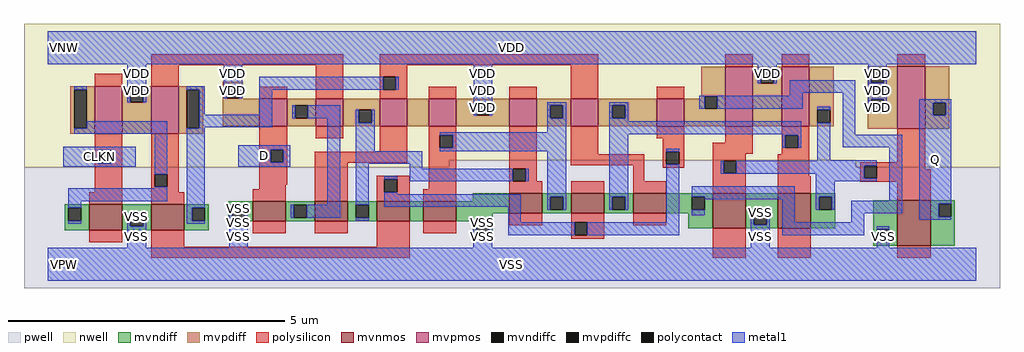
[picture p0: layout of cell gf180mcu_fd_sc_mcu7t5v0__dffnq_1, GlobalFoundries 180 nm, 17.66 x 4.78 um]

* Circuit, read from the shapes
.subckt gf180mcu_fd_sc_mcu7t5v0__dffnq_1 D CLKN Q VDD VNW VPW VSS
XM1 VSS CLKN n1 VPW nfet_06v0 w=0.465u l=0.6u
XM2 n2 n1 VSS VPW nfet_06v0 w=0.465u l=0.6u
XM3 n3 D VSS VPW nfet_06v0 w=0.36u l=0.6u
XM4 n4 n2 n3 VPW nfet_06v0 w=0.36u l=0.6u
XM5 n5 n1 n4 VPW nfet_06v0 w=0.36u l=0.6u
XM6 VSS n6 n5 VPW nfet_06v0 w=0.36u l=0.6u
XM7 n6 n4 VSS VPW nfet_06v0 w=0.36u l=0.6u
XM8 n7 n1 n6 VPW nfet_06v0 w=0.36u l=0.6u
XM9 n8 n2 n7 VPW nfet_06v0 w=0.36u l=0.6u
XM10 VSS n9 n8 VPW nfet_06v0 w=0.63u l=0.6u
XM11 n9 n7 VSS VPW nfet_06v0 w=0.63u l=0.6u
XM12 Q n9 VSS VPW nfet_06v0 w=0.82u l=0.6u
XM13 VDD CLKN n1 VNW pfet_06v0 w=0.865u l=0.5u
XM14 n2 n1 VDD VNW pfet_06v0 w=0.865u l=0.5u
XM15 n3 D VDD VNW pfet_06v0 w=0.495u l=0.5u
XM16 n4 n1 n3 VNW pfet_06v0 w=0.495u l=0.5u
XM17 n10 n2 n4 VNW pfet_06v0 w=0.495u l=0.5u
XM18 VDD n6 n10 VNW pfet_06v0 w=0.495u l=0.5u
XM19 n6 n4 VDD VNW pfet_06v0 w=0.495u l=0.5u
XM20 n7 n2 n6 VNW pfet_06v0 w=0.495u l=0.5u
XM21 n8 n1 n7 VNW pfet_06v0 w=0.495u l=0.5u
XM22 VDD n9 n8 VNW pfet_06v0 w=1.075u l=0.5u
XM23 n9 n7 VDD VNW pfet_06v0 w=1.075u l=0.5u
XM24 Q n9 VDD VNW pfet_06v0 w=1.13u l=0.5u
.ends

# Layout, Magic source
magic
tech gf180mcuD
magscale 1 10
<< nwell >>
rect -86 377 3446 870
rect -86 352 1453 377
rect 2924 352 3446 377
<< pwell >>
rect 1453 352 2924 377
rect -86 -86 3446 352
<< mvnmos >>
rect 150 124 270 217
rect 374 124 494 217
rect 742 156 862 228
rect 966 156 1086 228
rect 1190 156 1310 228
rect 1358 156 1478 228
rect 1670 185 1790 257
rect 1894 185 2014 257
rect 2118 185 2238 257
rect 2406 131 2526 257
rect 2642 131 2762 257
rect 3075 68 3195 232
<< mvpmos >>
rect 170 472 270 645
rect 374 472 474 645
rect 766 500 866 599
rect 970 500 1070 599
rect 1201 500 1301 599
rect 1378 500 1478 599
rect 1670 500 1770 599
rect 1893 500 1993 599
rect 2204 500 2304 599
rect 2452 500 2552 715
rect 2656 500 2756 715
rect 3075 490 3175 716
<< mvndiff >>
rect 1538 228 1670 257
rect 62 204 150 217
rect 62 158 75 204
rect 121 158 150 204
rect 62 124 150 158
rect 270 183 374 217
rect 270 137 299 183
rect 345 137 374 183
rect 270 124 374 137
rect 494 204 582 217
rect 494 158 523 204
rect 569 158 582 204
rect 494 124 582 158
rect 654 215 742 228
rect 654 169 667 215
rect 713 169 742 215
rect 654 156 742 169
rect 862 215 966 228
rect 862 169 891 215
rect 937 169 966 215
rect 862 156 966 169
rect 1086 215 1190 228
rect 1086 169 1115 215
rect 1161 169 1190 215
rect 1086 156 1190 169
rect 1310 156 1358 228
rect 1478 185 1670 228
rect 1790 244 1894 257
rect 1790 198 1819 244
rect 1865 198 1894 244
rect 1790 185 1894 198
rect 2014 244 2118 257
rect 2014 198 2043 244
rect 2089 198 2118 244
rect 2014 185 2118 198
rect 2238 244 2406 257
rect 2238 198 2331 244
rect 2377 198 2406 244
rect 2238 185 2406 198
rect 1478 162 1610 185
rect 1478 156 1551 162
rect 1538 116 1551 156
rect 1597 116 1610 162
rect 1538 103 1610 116
rect 2318 131 2406 185
rect 2526 190 2642 257
rect 2526 144 2555 190
rect 2601 144 2642 190
rect 2526 131 2642 144
rect 2762 244 2850 257
rect 2762 198 2791 244
rect 2837 198 2850 244
rect 2762 131 2850 198
rect 2987 127 3075 232
rect 2987 81 3000 127
rect 3046 81 3075 127
rect 2987 68 3075 81
rect 3195 219 3283 232
rect 3195 173 3224 219
rect 3270 173 3283 219
rect 3195 68 3283 173
<< mvpdiff >>
rect 634 647 706 660
rect 82 632 170 645
rect 82 492 95 632
rect 141 492 170 632
rect 82 472 170 492
rect 270 632 374 645
rect 270 586 299 632
rect 345 586 374 632
rect 270 472 374 586
rect 474 632 562 645
rect 474 492 503 632
rect 549 492 562 632
rect 634 601 647 647
rect 693 601 706 647
rect 634 599 706 601
rect 2364 609 2452 715
rect 2364 599 2377 609
rect 634 500 766 599
rect 866 575 970 599
rect 866 529 895 575
rect 941 529 970 575
rect 866 500 970 529
rect 1070 559 1201 599
rect 1070 513 1126 559
rect 1172 513 1201 559
rect 1070 500 1201 513
rect 1301 500 1378 599
rect 1478 586 1670 599
rect 1478 540 1552 586
rect 1598 540 1670 586
rect 1478 500 1670 540
rect 1770 575 1893 599
rect 1770 529 1818 575
rect 1864 529 1893 575
rect 1770 500 1893 529
rect 1993 575 2204 599
rect 1993 529 2043 575
rect 2089 529 2204 575
rect 1993 500 2204 529
rect 2304 563 2377 599
rect 2423 563 2452 609
rect 2304 500 2452 563
rect 2552 702 2656 715
rect 2552 656 2581 702
rect 2627 656 2656 702
rect 2552 500 2656 656
rect 2756 559 2844 715
rect 2756 513 2785 559
rect 2831 513 2844 559
rect 2756 500 2844 513
rect 2967 703 3075 716
rect 2967 657 2980 703
rect 3026 657 3075 703
rect 2967 597 3075 657
rect 2967 551 2980 597
rect 3026 551 3075 597
rect 474 472 562 492
rect 2967 490 3075 551
rect 3175 585 3263 716
rect 3175 539 3204 585
rect 3250 539 3263 585
rect 3175 490 3263 539
<< mvndiffc >>
rect 75 158 121 204
rect 299 137 345 183
rect 523 158 569 204
rect 667 169 713 215
rect 891 169 937 215
rect 1115 169 1161 215
rect 1819 198 1865 244
rect 2043 198 2089 244
rect 2331 198 2377 244
rect 1551 116 1597 162
rect 2555 144 2601 190
rect 2791 198 2837 244
rect 3000 81 3046 127
rect 3224 173 3270 219
<< mvpdiffc >>
rect 95 492 141 632
rect 299 586 345 632
rect 503 492 549 632
rect 647 601 693 647
rect 895 529 941 575
rect 1126 513 1172 559
rect 1552 540 1598 586
rect 1818 529 1864 575
rect 2043 529 2089 575
rect 2377 563 2423 609
rect 2581 656 2627 702
rect 2785 513 2831 559
rect 2980 657 3026 703
rect 2980 551 3026 597
rect 3204 539 3250 585
<< polysilicon >>
rect 374 720 1070 760
rect 170 645 270 690
rect 374 645 474 720
rect 766 599 866 643
rect 970 599 1070 720
rect 1201 720 1993 760
rect 1201 678 1301 720
rect 1201 632 1214 678
rect 1260 632 1301 678
rect 1201 599 1301 632
rect 1378 599 1478 643
rect 1670 599 1770 643
rect 1893 599 1993 720
rect 2452 715 2552 760
rect 2656 715 2756 760
rect 3075 716 3175 760
rect 2204 599 2304 643
rect 170 412 270 472
rect 170 366 183 412
rect 229 366 270 412
rect 170 261 270 366
rect 150 217 270 261
rect 374 326 474 472
rect 374 280 387 326
rect 433 280 474 326
rect 374 261 474 280
rect 766 415 866 500
rect 970 456 1070 500
rect 766 369 807 415
rect 853 369 866 415
rect 1201 408 1301 500
rect 766 288 866 369
rect 966 368 1301 408
rect 1378 467 1478 500
rect 1378 421 1419 467
rect 1465 421 1478 467
rect 766 272 862 288
rect 374 217 494 261
rect 742 228 862 272
rect 966 228 1086 368
rect 1190 307 1310 320
rect 1190 261 1218 307
rect 1264 261 1310 307
rect 1378 272 1478 421
rect 1190 228 1310 261
rect 1358 228 1478 272
rect 1670 346 1770 500
rect 1893 399 1993 500
rect 2204 456 2304 500
rect 2226 408 2304 456
rect 2452 440 2552 500
rect 1893 359 2158 399
rect 1670 300 1683 346
rect 1729 301 1770 346
rect 2118 301 2158 359
rect 2226 362 2239 408
rect 2285 362 2304 408
rect 2226 349 2304 362
rect 2406 400 2552 440
rect 2656 467 2756 500
rect 2656 421 2669 467
rect 2715 421 2756 467
rect 2406 375 2526 400
rect 2656 399 2756 421
rect 2406 329 2446 375
rect 2492 329 2526 375
rect 1729 300 1790 301
rect 1670 257 1790 300
rect 1894 257 2014 301
rect 2118 257 2238 301
rect 2406 257 2526 329
rect 2642 319 2756 399
rect 3075 370 3175 490
rect 2941 357 3175 370
rect 2642 257 2762 319
rect 2941 311 2954 357
rect 3000 344 3175 357
rect 3000 311 3195 344
rect 2941 298 3195 311
rect 150 80 270 124
rect 374 64 494 124
rect 742 112 862 156
rect 966 112 1086 156
rect 1190 64 1310 156
rect 1358 112 1478 156
rect 1670 141 1790 185
rect 1894 152 2014 185
rect 1894 106 1907 152
rect 1953 106 2014 152
rect 2118 141 2238 185
rect 3075 232 3195 298
rect 1894 93 2014 106
rect 374 24 1310 64
rect 2406 24 2526 131
rect 2642 24 2762 131
rect 3075 24 3195 68
<< polycontact >>
rect 1214 632 1260 678
rect 183 366 229 412
rect 387 280 433 326
rect 807 369 853 415
rect 1419 421 1465 467
rect 1218 261 1264 307
rect 1683 300 1729 346
rect 2239 362 2285 408
rect 2669 421 2715 467
rect 2446 329 2492 375
rect 2954 311 3000 357
rect 1907 106 1953 152
<< metal1 >>
rect 0 724 3360 844
rect 95 632 141 645
rect 288 632 356 724
rect 636 647 704 724
rect 288 586 299 632
rect 345 586 356 632
rect 503 632 569 645
rect 141 492 433 518
rect 95 472 433 492
rect 56 412 318 426
rect 56 366 183 412
rect 229 366 318 412
rect 56 354 318 366
rect 387 326 433 472
rect 387 275 433 280
rect 75 229 433 275
rect 549 542 569 632
rect 636 601 647 647
rect 693 601 704 647
rect 766 632 1214 678
rect 1260 632 1271 678
rect 766 542 812 632
rect 1541 586 1609 724
rect 2570 702 2638 724
rect 2570 656 2581 702
rect 2627 656 2638 702
rect 2969 703 3037 724
rect 2686 620 2923 666
rect 2686 610 2732 620
rect 2358 609 2732 610
rect 549 496 812 542
rect 884 529 895 575
rect 941 529 1058 575
rect 549 492 569 496
rect 75 204 121 229
rect 503 204 569 492
rect 690 415 878 430
rect 690 369 807 415
rect 853 369 878 415
rect 690 354 878 369
rect 1011 215 1058 529
rect 75 147 121 158
rect 288 137 299 183
rect 345 137 356 183
rect 503 158 523 204
rect 503 147 569 158
rect 656 169 667 215
rect 713 169 724 215
rect 880 169 891 215
rect 937 169 1058 215
rect 1115 513 1126 559
rect 1172 513 1183 559
rect 1541 540 1552 586
rect 1598 540 1609 586
rect 1808 575 1876 586
rect 1115 410 1183 513
rect 1808 529 1818 575
rect 1864 529 1876 575
rect 1808 478 1876 529
rect 1419 467 1876 478
rect 1465 421 1876 467
rect 1419 410 1876 421
rect 1115 364 1356 410
rect 1115 215 1161 364
rect 1310 346 1356 364
rect 1218 307 1264 318
rect 1310 300 1683 346
rect 1729 300 1740 346
rect 1218 254 1264 261
rect 1218 208 1712 254
rect 288 60 356 137
rect 656 60 724 169
rect 1115 158 1161 169
rect 1540 116 1551 162
rect 1597 116 1608 162
rect 1540 60 1608 116
rect 1666 152 1712 208
rect 1808 244 1876 410
rect 1808 198 1819 244
rect 1865 198 1876 244
rect 2032 575 2100 586
rect 2032 529 2043 575
rect 2089 529 2100 575
rect 2358 563 2377 609
rect 2423 563 2732 609
rect 2032 517 2100 529
rect 2785 559 2831 570
rect 2032 471 2726 517
rect 2032 244 2100 471
rect 2658 467 2726 471
rect 2658 421 2669 467
rect 2715 421 2726 467
rect 2032 198 2043 244
rect 2089 198 2100 244
rect 2239 408 2285 419
rect 2785 377 2831 513
rect 2877 469 2923 620
rect 2969 657 2980 703
rect 3026 657 3037 703
rect 2969 597 3037 657
rect 2969 551 2980 597
rect 3026 551 3037 597
rect 3154 585 3270 597
rect 3154 539 3204 585
rect 3250 539 3270 585
rect 2877 423 3092 469
rect 2785 375 3000 377
rect 2239 152 2285 362
rect 2435 329 2446 375
rect 2492 357 3000 375
rect 2492 329 2954 357
rect 2435 328 2954 329
rect 2780 311 2954 328
rect 2780 300 3000 311
rect 2331 244 2704 282
rect 2377 236 2704 244
rect 2331 178 2377 198
rect 1666 106 1907 152
rect 1953 106 2285 152
rect 2544 144 2555 190
rect 2601 144 2612 190
rect 2544 60 2612 144
rect 2658 152 2704 236
rect 2780 244 2848 300
rect 2780 198 2791 244
rect 2837 198 2848 244
rect 3046 230 3092 423
rect 2908 184 3092 230
rect 3154 219 3270 539
rect 2908 152 2954 184
rect 3154 173 3224 219
rect 3154 162 3270 173
rect 2658 106 2954 152
rect 3000 127 3046 138
rect 3000 60 3046 81
rect 0 -60 3360 60
<< labels >>
flabel metal1 s 56 354 318 426 0 FreeSans 600 0 0 0 CLKN
port 2 nsew clock input
flabel metal1 s 0 724 3360 844 0 FreeSans 600 0 0 0 VDD
port 4 nsew power bidirectional abutment
flabel metal1 s 656 190 724 215 0 FreeSans 600 0 0 0 VSS
port 7 nsew ground bidirectional abutment
flabel metal1 s 690 354 878 430 0 FreeSans 600 0 0 0 D
port 1 nsew default input
flabel metal1 s 3154 162 3270 597 0 FreeSans 600 0 0 0 Q
port 3 nsew default output
flabel nwell s 10 734 110 834 0 FreeSans 400 0 0 0 VNW
port 5 nsew power bidirectional
flabel pwell s 10 -50 110 50 0 FreeSans 400 0 0 0 VPW
port 6 nsew ground bidirectional
rlabel metal1 s 2969 656 3037 724 1 VDD
port 4 nsew power bidirectional abutment
rlabel metal1 s 2570 656 2638 724 1 VDD
port 4 nsew power bidirectional abutment
rlabel metal1 s 1541 656 1609 724 1 VDD
port 4 nsew power bidirectional abutment
rlabel metal1 s 636 656 704 724 1 VDD
port 4 nsew power bidirectional abutment
rlabel metal1 s 288 656 356 724 1 VDD
port 4 nsew power bidirectional abutment
rlabel metal1 s 2969 601 3037 656 1 VDD
port 4 nsew power bidirectional abutment
rlabel metal1 s 1541 601 1609 656 1 VDD
port 4 nsew power bidirectional abutment
rlabel metal1 s 636 601 704 656 1 VDD
port 4 nsew power bidirectional abutment
rlabel metal1 s 288 601 356 656 1 VDD
port 4 nsew power bidirectional abutment
rlabel metal1 s 2969 586 3037 601 1 VDD
port 4 nsew power bidirectional abutment
rlabel metal1 s 1541 586 1609 601 1 VDD
port 4 nsew power bidirectional abutment
rlabel metal1 s 288 586 356 601 1 VDD
port 4 nsew power bidirectional abutment
rlabel metal1 s 2969 551 3037 586 1 VDD
port 4 nsew power bidirectional abutment
rlabel metal1 s 1541 551 1609 586 1 VDD
port 4 nsew power bidirectional abutment
rlabel metal1 s 1541 540 1609 551 1 VDD
port 4 nsew power bidirectional abutment
rlabel metal1 s 2544 183 2612 190 1 VSS
port 7 nsew ground bidirectional abutment
rlabel metal1 s 656 183 724 190 1 VSS
port 7 nsew ground bidirectional abutment
rlabel metal1 s 2544 162 2612 183 1 VSS
port 7 nsew ground bidirectional abutment
rlabel metal1 s 656 162 724 183 1 VSS
port 7 nsew ground bidirectional abutment
rlabel metal1 s 288 162 356 183 1 VSS
port 7 nsew ground bidirectional abutment
rlabel metal1 s 2544 138 2612 162 1 VSS
port 7 nsew ground bidirectional abutment
rlabel metal1 s 1540 138 1608 162 1 VSS
port 7 nsew ground bidirectional abutment
rlabel metal1 s 656 138 724 162 1 VSS
port 7 nsew ground bidirectional abutment
rlabel metal1 s 288 138 356 162 1 VSS
port 7 nsew ground bidirectional abutment
rlabel metal1 s 3000 60 3046 138 1 VSS
port 7 nsew ground bidirectional abutment
rlabel metal1 s 2544 60 2612 138 1 VSS
port 7 nsew ground bidirectional abutment
rlabel metal1 s 1540 60 1608 138 1 VSS
port 7 nsew ground bidirectional abutment
rlabel metal1 s 656 60 724 138 1 VSS
port 7 nsew ground bidirectional abutment
rlabel metal1 s 288 60 356 138 1 VSS
port 7 nsew ground bidirectional abutment
rlabel metal1 s 0 -60 3360 60 1 VSS
port 7 nsew ground bidirectional abutment
<< properties >>
string FIXED_BBOX 0 0 3360 784
string GDS_END 865166
string GDS_FILE $PDKPATH/libs.ref/gf180mcu_fd_sc_mcu7t5v0/gds/gf180mcu_fd_sc_mcu7t5v0.gds
string GDS_START 857658
string LEFclass core
string LEFsite GF018hv5v_mcu_sc7
string LEFsymmetry X Y
<< end >>
